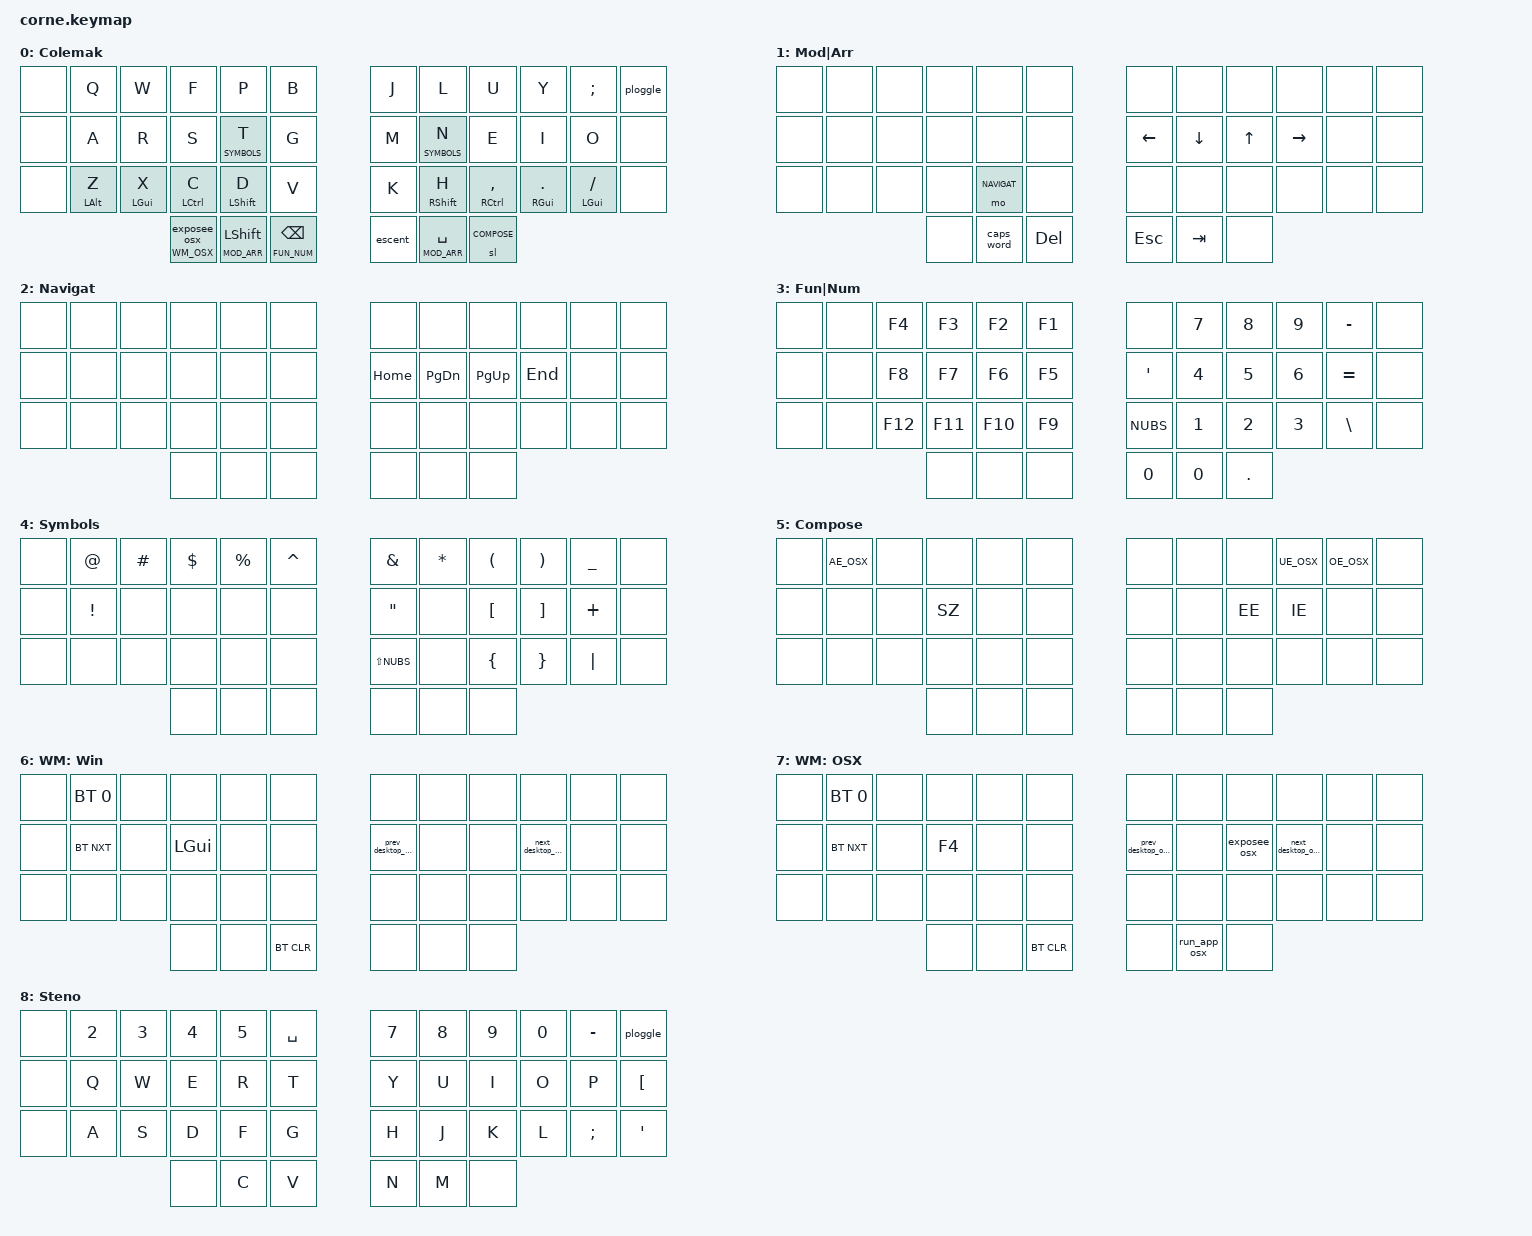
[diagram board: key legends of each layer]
/*
 * Copyright (c) 2020 The ZMK Contributors
 *
 * SPDX-License-Identifier: MIT
 */

#include <behaviors.dtsi>
#include <dt-bindings/zmk/keys.h>
#include <dt-bindings/zmk/bt.h>

// Layers
#define COLEMAK 0
#define MOD_ARR 1
#define NAVIGAT 2
#define FUN_NUM 3
#define SYMBOLS 4
#define COMPOSE 5
#define WM_WIN  6
#define WM_OSX  7
#define STENO   8

// Keycodes
#define xxxxx &none

//  Layers
//    Left
#define LT_T &lt SYMBOLS T
#define LT_SFT &lsk MOD_ARR LSHFT
#define LT_BSPC &lt FUN_NUM BSPC
//    Right
#define LT_N &lt SYMBOLS N
#define LT_RET &lt FUN_NUM RET
#define LT_SPACE &lt MOD_ARR SPACE
#define LT_ESC &tyl COMPOSE ESC


&lt {
    quick-tap-ms = <300>;
};

&nice_view_spi {
    cs-gpios = <&pro_micro 9 GPIO_ACTIVE_HIGH>;
};

/ {
        combos {
            compatible = "zmk,combos";
            combo_esc {
                timeout-ms = <50>;
                key-positions = <2 3>;
                bindings = <&kp ESC>;
            };

            combo_tab {
                timeout-ms = <50>;
                key-positions = <3 4>;
                bindings = <&kp TAB>;
            };
        };

        macros {
            ZMK_MACRO(AE,
                wait-ms = <10>;
                tap-ms = <20>;
                bindings
                    = <&macro_press &kp RALT>
                    , <&macro_tap &kp Q>
                    , <&macro_release &kp RALT>
                    ;
            )

            ZMK_MACRO(SZ,
                wait-ms = <10>;
                tap-ms = <20>;
                bindings
                    = <&macro_press &kp RALT>
                    , <&macro_tap &kp S>
                    , <&macro_release &kp RALT>
                    ;
            )

            ZMK_MACRO(EE,
                wait-ms = <10>;
                tap-ms = <20>;
                bindings
                    = <&macro_press &kp RALT>
                    , <&macro_tap &kp E>
                    , <&macro_release &kp RALT>
                    ;
            )

            ZMK_MACRO(IE,
                wait-ms = <10>;
                tap-ms = <20>;
                bindings
                    = <&macro_press &kp RALT>
                    , <&macro_tap &kp I>
                    , <&macro_release &kp RALT>
                    ;
            )

            ZMK_MACRO(UE,
                wait-ms = <10>;
                tap-ms = <20>;
                bindings
                    = <&macro_press &kp RALT>
                    , <&macro_tap &kp Y>
                    , <&macro_release &kp RALT>
                    ;
            )

            ZMK_MACRO(OE,
                wait-ms = <10>;
                tap-ms = <20>;
                bindings
                    = <&macro_press &kp RALT>
                    , <&macro_tap &kp P>
                    , <&macro_release &kp RALT>
                    ;
            )

            ZMK_MACRO(AE_OSX,
                wait-ms = <10>;
                tap-ms = <20>;
                bindings
                    = <&macro_press &kp RALT>
                    , <&macro_tap &kp U>
                    , <&macro_release &kp RALT>
                    , <&macro_tap &kp A>
                    ;
            )

            ZMK_MACRO(UE_OSX,
                wait-ms = <10>;
                tap-ms = <20>;
                bindings
                    = <&macro_press &kp RALT>
                    , <&macro_tap &kp U>
                    , <&macro_release &kp RALT>
                    , <&macro_tap &kp U>
                    ;
            )

            ZMK_MACRO(OE_OSX,
                wait-ms = <10>;
                tap-ms = <20>;
                bindings
                    = <&macro_press &kp RALT>
                    , <&macro_tap &kp U>
                    , <&macro_release &kp RALT>
                    , <&macro_tap &kp O>
                    ;
            )

            ZMK_MACRO(ploggle,
                wait-ms = <10>;
                tap-ms = <20>;
                bindings
                    = <&tog STENO>
                    , <&macro_press &kp E &kp R &kp F &kp V &kp O &kp L>
                    , <&macro_release &kp E &kp R &kp F &kp V &kp O &kp L>
                    ;
            )

            exposee_win: wm_win_exposee {
                compatible = "zmk,behavior-macro";
                label = "Win10 Exposee";
                #binding-cells = <0>;
                wait-ms = <10>;
                tap-ms = <20>;
                bindings
                    = <&macro_press &kp LGUI>
                    , <&macro_tap &kp TAB>
                    , <&macro_release &kp LGUI>
                    ;
            };

            exposee_osx: wm_osx_exposee {
                compatible = "zmk,behavior-macro";
                label = "macOS Exposee";
                #binding-cells = <0>;
                wait-ms = <10>;
                tap-ms = <20>;
                bindings
                    = <&macro_press &kp LCTRL>
                    , <&macro_tap &kp UP>
                    , <&macro_release &kp LCTRL>
                    ;
            };

            prev_desktop_win: wm_win_prev_desktop {
                compatible = "zmk,behavior-macro";
                label = "Win10 Go To Previous Desktop";
                #binding-cells = <0>;
                wait-ms = <10>;
                tap-ms = <20>;
                bindings
                    = <&macro_press &kp LCTRL>
                    , <&macro_press &kp LGUI>
                    , <&macro_tap &kp LEFT>
                    , <&macro_release &kp LGUI>
                    , <&macro_release &kp LCTRL>
                    ;
            };

            next_desktop_win: wm_win_next_desktop {
                compatible = "zmk,behavior-macro";
                label = "Win10 Go To Next Desktop";
                #binding-cells = <0>;
                wait-ms = <10>;
                tap-ms = <20>;
                bindings
                    = <&macro_press &kp LCTRL>
                    , <&macro_press &kp LGUI>
                    , <&macro_tap &kp RIGHT>
                    , <&macro_release &kp LGUI>
                    , <&macro_release &kp LCTRL>
                    ;
            };

            prev_desktop_osx: wm_osx_prev_desktop {
                compatible = "zmk,behavior-macro";
                label = "macOS Go To Previous Desktop";
                #binding-cells = <0>;
                wait-ms = <10>;
                tap-ms = <20>;
                bindings
                    = <&macro_press &kp LCTRL>
                    , <&macro_tap &kp LEFT>
                    , <&macro_release &kp LCTRL>
                    ;
            };

            next_desktop_osx: wm_osx_next_desktop {
                compatible = "zmk,behavior-macro";
                label = "macOS Go To Next Desktop";
                #binding-cells = <0>;
                wait-ms = <10>;
                tap-ms = <20>;
                bindings
                    = <&macro_press &kp LCTRL>
                    , <&macro_tap &kp RIGHT>
                    , <&macro_release &kp LCTRL>
                    ;
            };

            run_app_osx: wm_osx_run_app {
                compatible = "zmk,behavior-macro";
                label = "macOS Run Spotlight";
                #binding-cells = <0>;
                wait-ms = <10>;
                tap-ms = <20>;
                bindings
                    = <&macro_press &kp LGUI>
                    , <&macro_tap &kp SPACE>
                    , <&macro_release &kp LGUI>
                    ;
            };
        };

        behaviors {
            lhs: left_hand_shift {
                compatible = "zmk,behavior-hold-tap";
                label = "Left-Hand Shift";
                #binding-cells = <2>;
                tapping-term-ms = <160>;
                flavor = "balanced";
                bindings = <&kp>, <&kp>;
                hold-trigger-key-positions = <6 7 8 9 10 18 19 20 21 22 30 31 32 33 34 39 40 41>;    // <---[[right-hand keys]]
            };

            rhs: right_hand_shift {
                compatible = "zmk,behavior-hold-tap";
                label = "Right-Hand Shift";
                #binding-cells = <2>;
                tapping-term-ms = <160>;
                flavor = "balanced";
                bindings = <&kp>, <&kp>;
                hold-trigger-key-positions = <1 2 3 4 5 13 14 15 16 17 25 26 27 28 29 36 37 38>;    // <---[[left-hand keys]]
            };

            lrm: lower_row_mods {
                compatible = "zmk,behavior-hold-tap";
                label = "Lower Row Mods";
                #binding-cells = <2>;
                tapping-term-ms = <200>;
                quick-tap-ms = <0>;
                flavor = "tap-preferred";
                bindings = <&kp>, <&kp>;
            };

            lte: layer_tab_exposee {
                compatible = "zmk,behavior-hold-tap";
                label = "Layer-tap the exposee macro";
                #binding-cells = <2>;
                tapping-term-ms = <200>;
                bindings = <&mo>, <&exposee_osx>;
            };

            lsk: layer_sticky_key {
                compatible = "zmk,behavior-hold-tap";
                label = "Layer-tap a sticky key";
                #binding-cells = <2>;
                tapping-term-ms = <200>;
                flavor = "tap-preferred";
                bindings = <&mo>, <&skq>;
            };

            skq: sticky_key_quick_release {
                compatible = "zmk,behavior-sticky-key";
                label = "Sticky key with quick release";
                #binding-cells = <1>;
                bindings = <&kp>;
                release-after-ms = <1000>;
                quick-release;
            };

            tyl: typing_layer {
                compatible = "zmk,behavior-hold-tap";
                label = "Prefer fluid typing of layered keys";
                #binding-cells = <2>;
                tapping-term-ms = <160>;
                flavor = "hold-preferred";
                bindings = <&mo>, <&kp>;
            };
            escent: escape_enter {
                compatible = "zmk,behavior-mod-morph";
                label = "Send ESC on shifted ENTER";
                #binding-cells = <0>;
                bindings = <&kp ENTER>, <&kp ESCAPE>;
                mods = <(MOD_LSFT)>; 
            };
        };

        keymap {
            compatible = "zmk,keymap";

            colemak {
                label = "Colemak";
                bindings = <
//             ------------------------------------------------------------------          -------------------------------------------------------------------------------
//             |     Q      |     W      |     F      |     P      |     B      |          |     J      |     L      |     U      |     Y      |     ;      |  PLOGGLE   |
//             |     A      |     R      |     S      |     T      |     G      |          |     M      |     N      |     E      |     I      |     O      |            |
//             |     Z      |     X      |     C      |     D      |     V      |          |     K      |     H      |     ,      |     .      |     /      |            |
//             --------------------------|     WM     |    SFT     |    BSP     |          |    ENT     |    SPC     |    CMP     |---------------------------------------
//                                       ----------------------------------------          ---------------------------------------
    xxxxx        &kp Q        &kp W        &kp F        &kp P        &kp B                  &kp J        &kp L        &kp U        &kp Y         &kp SEMI       &ploggle
    xxxxx        &kp A        &kp R        &kp S        LT_T         &kp G                  &kp M        LT_N         &kp E        &kp I         &kp O          xxxxx
    xxxxx        &lrm LALT Z  &lrm LGUI X  &lrm LCTRL C &lrm LSHFT D &kp V                  &kp K        &lrm RSHFT H &lrm RCTRL COMMA &lrm RGUI DOT &lrm LGUI FSLH xxxxx
                                           &lte WM_OSX 0 LT_SFT      LT_BSPC                &escent       LT_SPACE     &sl COMPOSE
                >;
            };

            mod_arr {
                label = "Mod|Arr";
                bindings = <
//             ------------------------------------------------------------------          ------------------------------------------------------------------
//             |            |            |            |            |            |          |            |            |            |            |            |
//             |            |            |            |            |            |          |   LEFT     |    DOWN    |     UP     |   RIGHT    |            |
//             |            |            |            |   NAV      |            |          |            |            |            |            |            |
//             --------------------------|            |   CAPS     |    DEL     |          |   ESC      |    TAB     |            |--------------------------
//                                       ----------------------------------------          ---------------------------------------
    xxxxx        &none        &none        &none        &none        &none                   &none        &none        &none        &none        &none        xxxxx
    xxxxx        &none        &none        &none        &none        &none                   &kp LEFT     &kp DOWN     &kp UP       &kp RIGHT    &none        xxxxx
    xxxxx        &none        &none        &none        &mo NAVIGAT  &none                   &none        &none        &none        &none        &none        xxxxx
                                           &none        &caps_word   &kp DEL                 &kp ESC      &kp TAB      &none
                >;
            };

            navigat {
                label = "Navigat";
                bindings = <
//             ------------------------------------------------------------------          ------------------------------------------------------------------
//             |            |            |            |            |            |          |            |            |            |            |            |
//             |            |            |            |            |            |          |    HOME    |   PG DN    |   PG UP    |    END     |            |
//             |            |            |            |            |            |          |            |            |            |            |            |
//             --------------------------|            |            |            |          |            |            |            |--------------------------
//                                       ----------------------------------------          ---------------------------------------
    xxxxx        &none        &none        &none        &none        &none                   &none        &none        &none        &none        &none        xxxxx
    xxxxx        &none        &none        &none        &none        &none                   &kp HOME     &kp PG_DN    &kp PG_UP    &kp END      &none        xxxxx
    xxxxx        &none        &none        &none        &none        &none                   &none        &none        &none        &none        &none        xxxxx
                                           &none        &none        &none                   &none        &none        &none
                >;
            };

            fun_num {
                label = "Fun|Num";
                bindings = <
//             ------------------------------------------------------------------          ------------------------------------------------------------------
//             |            |     F4     |     F3     |     F2     |     F1     |          |            |     7      |     8      |     9      |     -      |
//             |            |     F8     |     F7     |     F6     |     F5     |          |     '      |     4      |     5      |     6      |     =      |
//             |            |     F12    |     F11    |     F10    |     F9     |          |     `      |     1      |     2      |     3      |     \      |
//             --------------------------|            |            |            |          |     0      |     0      |     .      |--------------------------
//                                       ----------------------------------------          ---------------------------------------
    xxxxx        &none        &kp F4       &kp F3       &kp F2       &kp F1                  &none        &kp N7       &kp N8       &kp N9       &kp MINUS    xxxxx
    xxxxx        &none        &kp F8       &kp F7       &kp F6       &kp F5                  &kp SQT      &kp N4       &kp N5       &kp N6       &kp EQUAL    xxxxx
    xxxxx        &none        &kp F12      &kp F11      &kp F10      &kp F9                  &kp NUBS     &kp N1       &kp N2       &kp N3       &kp BSLH     xxxxx
                                           &none        &none        &none                   &kp N0       &kp N0       &kp DOT
                >;
            };

            symbols {
                label = "Symbols";
                bindings = <
//             ------------------------------------------------------------------          ------------------------------------------------------------------
//             |     @      |     #      |     $      |     %      |     ^      |          |     &      |     *      |     (      |     )      |     _      |
//             |     !      |            |            |            |            |          |     "      |            |     [      |     ]      |     +      |
//             |            |            |            |            |            |          |     ~      |            |     {      |     }      |     |      |
//             --------------------------|            |            |            |          |            |            |            |--------------------------
//                                       ----------------------------------------          ---------------------------------------
    xxxxx        &kp AT       &kp HASH     &kp DLLR     &kp PRCNT    &kp CARET               &kp AMPS     &kp ASTRK    &kp LPAR     &kp RPAR     &kp UNDER    xxxxx
    xxxxx        &kp EXCL     &none        &none        &none        &none                   &kp DQT      &none        &kp LBKT     &kp RBKT     &kp PLUS     xxxxx
    xxxxx        &none        &none        &none        &none        &none                   &kp LS(NUBS) &none        &kp LBRC     &kp RBRC     &kp PIPE     xxxxx
                                           &none        &none        &none                   &none        &none        &none
                >;
            };

            compose {
                label = "Compose";
                bindings = <
//             ------------------------------------------------------------------          ------------------------------------------------------------------
//             |     Ä      |            |            |            |            |          |            |            |            |     Ü      |     Ö      |
//             |            |            |     ß      |            |            |          |            |            |     É      |     Í      |            |
//             |            |            |            |            |            |          |            |            |            |            |            |
//             --------------------------|            |            |            |          |            |            |            |--------------------------
//                                       ----------------------------------------          ---------------------------------------
    xxxxx        &AE_OSX      &none        &none        &none        &none                   &none        &none        &none        &UE_OSX      &OE_OSX      xxxxx
    xxxxx        &none        &none        &SZ          &none        &none                   &none        &none        &EE          &IE          &none        xxxxx
    xxxxx        &none        &none        &none        &none        &none                   &none        &none        &none        &none        &none        xxxxx
                                           &none        &none        &none                   &none        &none        &none
                >;
            };

            wm_win {
                label = "WM: Win";
                bindings = <
//             ------------------------------------------------------------------          ------------------------------------------------------------------
//             |            |            |            |            |            |          |            |            |            |            |            |
//             |            |            |   START    |            |            |          |   PRV_D    |            |            |   NXT_D    |            |
//             |            |            |            |            |            |          |            |            |            |            |            |
//             --------------------------|            |            |            |          |            |            |            |--------------------------
//                                       ----------------------------------------          ---------------------------------------
    xxxxx        &bt BT_SEL 0 &none        &none        &none        &none                   &none        &none        &none        &none        &none        xxxxx
    xxxxx        &bt BT_NXT   &none        &kp LGUI     &none        &none                   &prev_desktop_win &none   &none        &next_desktop_win &none   xxxxx
    xxxxx        &none        &none        &none        &none        &none                   &none        &none        &none        &none        &none        xxxxx
                                           &none        &none        &bt BT_CLR              &none        &none        &none
                >;
            };

            wm_osx {
                label = "WM: OSX";
                bindings = <
//             ------------------------------------------------------------------          ------------------------------------------------------------------
//             |            |            |            |            |            |          |            |            |            |            |            |
//             |            |            |   START    |            |            |          |   PRV_D    |            |            |   NXT_D    |            |
//             |            |            |            |            |            |          |            |            |            |            |            |
//             --------------------------|            |            |            |          |            |            |            |--------------------------
//                                       ----------------------------------------          ---------------------------------------
    xxxxx        &bt BT_SEL 0 &none        &none        &none        &none                   &none        &none        &none        &none        &none        xxxxx
    xxxxx        &bt BT_NXT   &none        &kp F4       &none        &none                   &prev_desktop_osx &none   &exposee_osx &next_desktop_osx &none   xxxxx
    xxxxx        &none        &none        &none        &none        &none                   &none        &none        &none        &none        &none        xxxxx
                                           &none        &none        &bt BT_CLR              &none        &run_app_osx &none
                >;
            };

            steno {
                label = "Steno";
                bindings = <
//             ------------------------------------------------------------------          -------------------------------------------------------------------------------
//             |     2      |     3      |     4      |     5      | ARPEGGIATE |          |     7      |     8      |     9      |     0      |     -      |   PLOGGLE  |
//             |     Q      |     W      |     E      |     R      |     T      |          |     Y      |     U      |     I      |     O      |     P      |     [      |
//             |     A      |     S      |     D      |     F      |     G      |          |     H      |     J      |     K      |     L      |     ;      |     '      |
//             --------------------------|     C      |     V      |            |          |            |     N      |     M      |---------------------------------------
//                                       ----------------------------------------          ---------------------------------------
    xxxxx        &kp N2       &kp N3       &kp N4       &kp N5       &kp SPACE               &kp N7       &kp N8       &kp N9       &kp N0       &kp MINUS    &ploggle
    xxxxx        &kp Q        &kp W        &kp E        &kp R        &kp T                   &kp Y        &kp U        &kp I        &kp O        &kp P        &kp LBKT
    xxxxx        &kp A        &kp S        &kp D        &kp F        &kp G                   &kp H        &kp J        &kp K        &kp L        &kp SEMI     &kp SQT
                                           &none        &kp C        &kp V                   &kp N        &kp M        &none
                >;
            };
        };
//            <tmpl> {
//                label = "";
//                bindings = <
////             ------------------------------------------------------------------          ------------------------------------------------------------------
////             |            |            |            |            |            |          |            |            |            |            |            |
////             |            |            |            |            |            |          |            |            |            |            |            |
////             |            |            |            |            |            |          |            |            |            |            |            |
////             --------------------------|            |            |            |          |            |            |            |--------------------------
////                                       ----------------------------------------          ---------------------------------------
//    xxxxx        &none        &none        &none        &none        &none                   &none        &none        &none        &none        &none        xxxxx
//    xxxxx        &none        &none        &none        &none        &none                   &none        &none        &none        &none        &none        xxxxx
//    xxxxx        &none        &none        &none        &none        &none                   &none        &none        &none        &none        &none        xxxxx
//                                           &none        &none        &none                   &none        &none        &none
//                >;
//            };
//        };
};
